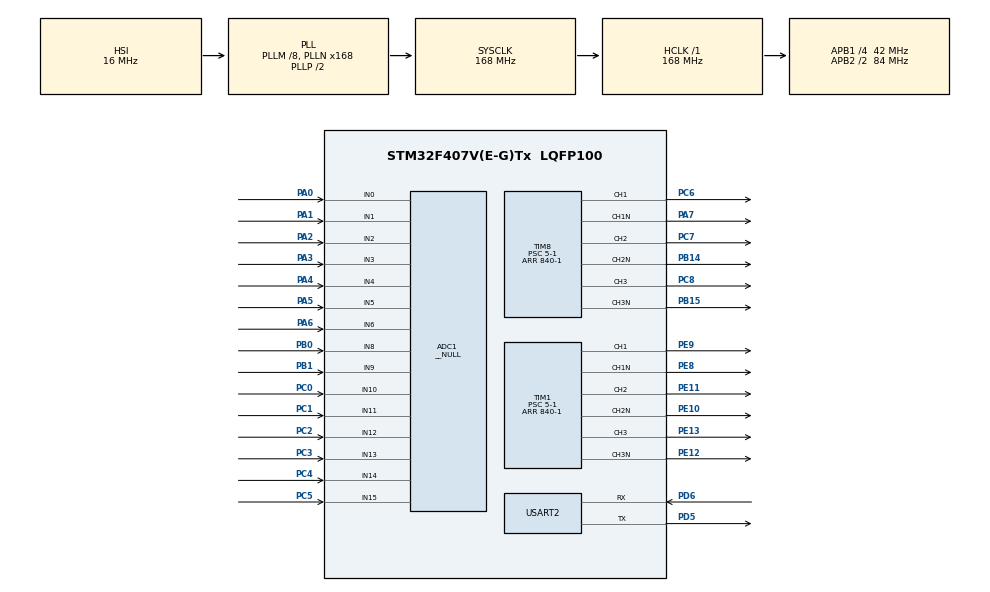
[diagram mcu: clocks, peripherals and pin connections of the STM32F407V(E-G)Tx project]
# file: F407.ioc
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ADC1.Channel-0\#ChannelRegularConversion=ADC_CHANNEL_0
ADC1.Channel-1\#ChannelRegularConversion=ADC_CHANNEL_1
ADC1.Channel-11\#ChannelRegularConversion=ADC_CHANNEL_9
ADC1.Channel-12\#ChannelRegularConversion=ADC_CHANNEL_10
ADC1.Channel-13\#ChannelRegularConversion=ADC_CHANNEL_11
ADC1.Channel-14\#ChannelRegularConversion=ADC_CHANNEL_12
ADC1.Channel-15\#ChannelRegularConversion=ADC_CHANNEL_13
ADC1.Channel-16\#ChannelRegularConversion=ADC_CHANNEL_14
ADC1.Channel-17\#ChannelRegularConversion=ADC_CHANNEL_15
ADC1.Channel-19\#ChannelRegularConversion=ADC_CHANNEL_VREFINT
ADC1.Channel-2\#ChannelRegularConversion=ADC_CHANNEL_2
ADC1.Channel-3\#ChannelRegularConversion=ADC_CHANNEL_3
ADC1.Channel-4\#ChannelRegularConversion=ADC_CHANNEL_4
ADC1.Channel-5\#ChannelRegularConversion=ADC_CHANNEL_5
ADC1.Channel-6\#ChannelRegularConversion=ADC_CHANNEL_6
ADC1.Channel-7\#ChannelRegularConversion=ADC_CHANNEL_8
ADC1.ContinuousConvMode=ENABLE
ADC1.DMAContinuousRequests=ENABLE
ADC1.DiscontinuousConvMode=DISABLE
ADC1.Mode=__NULL
ADC1.NbrOfConversion=16
ADC1.NbrOfConversionFlag=1
ADC1.Rank-0\#ChannelRegularConversion=1
ADC1.Rank-1\#ChannelRegularConversion=2
ADC1.Rank-11\#ChannelRegularConversion=9
ADC1.Rank-12\#ChannelRegularConversion=10
ADC1.Rank-13\#ChannelRegularConversion=11
ADC1.Rank-14\#ChannelRegularConversion=12
ADC1.Rank-15\#ChannelRegularConversion=13
ADC1.Rank-16\#ChannelRegularConversion=14
ADC1.Rank-17\#ChannelRegularConversion=15
ADC1.Rank-19\#ChannelRegularConversion=16
ADC1.Rank-2\#ChannelRegularConversion=3
ADC1.Rank-3\#ChannelRegularConversion=4
ADC1.Rank-4\#ChannelRegularConversion=5
ADC1.Rank-5\#ChannelRegularConversion=6
ADC1.Rank-6\#ChannelRegularConversion=7
ADC1.Rank-7\#ChannelRegularConversion=8
ADC1.SamplingTime-0\#ChannelRegularConversion=ADC_SAMPLETIME_3CYCLES
ADC1.SamplingTime-1\#ChannelRegularConversion=ADC_SAMPLETIME_3CYCLES
ADC1.SamplingTime-11\#ChannelRegularConversion=ADC_SAMPLETIME_3CYCLES
ADC1.SamplingTime-12\#ChannelRegularConversion=ADC_SAMPLETIME_3CYCLES
ADC1.SamplingTime-13\#ChannelRegularConversion=ADC_SAMPLETIME_3CYCLES
ADC1.SamplingTime-14\#ChannelRegularConversion=ADC_SAMPLETIME_3CYCLES
ADC1.SamplingTime-15\#ChannelRegularConversion=ADC_SAMPLETIME_3CYCLES
ADC1.SamplingTime-16\#ChannelRegularConversion=ADC_SAMPLETIME_3CYCLES
ADC1.SamplingTime-17\#ChannelRegularConversion=ADC_SAMPLETIME_3CYCLES
ADC1.SamplingTime-19\#ChannelRegularConversion=ADC_SAMPLETIME_3CYCLES
ADC1.SamplingTime-2\#ChannelRegularConversion=ADC_SAMPLETIME_3CYCLES
ADC1.SamplingTime-3\#ChannelRegularConversion=ADC_SAMPLETIME_3CYCLES
ADC1.SamplingTime-4\#ChannelRegularConversion=ADC_SAMPLETIME_3CYCLES
ADC1.SamplingTime-5\#ChannelRegularConversion=ADC_SAMPLETIME_3CYCLES
ADC1.SamplingTime-6\#ChannelRegularConversion=ADC_SAMPLETIME_3CYCLES
ADC1.SamplingTime-7\#ChannelRegularConversion=ADC_SAMPLETIME_3CYCLES
ADC1.master=1
Dma.ADC1.0.Direction=DMA_PERIPH_TO_MEMORY
Dma.ADC1.0.FIFOMode=DMA_FIFOMODE_DISABLE
Dma.ADC1.0.Instance=DMA2_Stream0
Dma.ADC1.0.MemDataAlignment=DMA_MDATAALIGN_WORD
Dma.ADC1.0.MemInc=DMA_MINC_ENABLE
Dma.ADC1.0.Mode=DMA_CIRCULAR
Dma.ADC1.0.PeriphDataAlignment=DMA_PDATAALIGN_WORD
Dma.ADC1.0.PeriphInc=DMA_PINC_DISABLE
Dma.ADC1.0.Priority=DMA_PRIORITY_MEDIUM
Dma.Request0=ADC1
Mcu.Family=STM32F4
Mcu.Name=STM32F407V(E-G)Tx
Mcu.Package=LQFP100
NVIC.DMA2_Stream0_IRQn=true\:0\:0\:false\:false\:true\:false\:true\:true
NVIC.PriorityGroup=NVIC_PRIORITYGROUP_4
NVIC.TIM2_IRQn=true\:0\:0\:false\:false\:true\:true\:true\:true
PA0-WKUP.Signal=ADCx_IN0
PA1.Signal=ADCx_IN1
PA13.Mode=Serial_Wire
PA13.Signal=SYS_JTMS-SWDIO
PA14.Mode=Serial_Wire
PA14.Signal=SYS_JTCK-SWCLK
PA2.Signal=ADCx_IN2
PA3.Signal=ADCx_IN3
PA4.Signal=ADCx_IN4
PA5.Signal=ADCx_IN5
PA6.Signal=ADCx_IN6
PA7.Mode=PWM Generation1 CH1 CH1N
PA7.Signal=TIM8_CH1N
PB0.Signal=ADCx_IN8
PB1.Signal=ADCx_IN9
PB14.Mode=PWM Generation2 CH2 CH2N
PB14.Signal=TIM8_CH2N
PB15.Mode=PWM Generation3 CH3 CH3N
PB15.Signal=TIM8_CH3N
PC0.Signal=ADCx_IN10
PC1.Signal=ADCx_IN11
PC14-OSC32_IN.Mode=LSE-External-Oscillator
PC14-OSC32_IN.Signal=RCC_OSC32_IN
PC15-OSC32_OUT.Mode=LSE-External-Oscillator
PC15-OSC32_OUT.Signal=RCC_OSC32_OUT
PC2.Signal=ADCx_IN12
PC3.Signal=ADCx_IN13
PC4.Signal=ADCx_IN14
PC5.Signal=ADCx_IN15
PC6.Signal=S_TIM8_CH1
PC7.Signal=S_TIM8_CH2
PC8.Signal=S_TIM8_CH3
PD5.Mode=Asynchronous
PD5.Signal=USART2_TX
PD6.Mode=Asynchronous
PD6.Signal=USART2_RX
PE10.Mode=PWM Generation2 CH2 CH2N
PE10.Signal=TIM1_CH2N
PE11.Signal=S_TIM1_CH2
PE12.Mode=PWM Generation3 CH3 CH3N
PE12.Signal=TIM1_CH3N
PE13.Signal=S_TIM1_CH3
PE8.Mode=PWM Generation1 CH1 CH1N
PE8.Signal=TIM1_CH1N
PE9.Signal=S_TIM1_CH1
PH0-OSC_IN.Mode=HSE-External-Oscillator
PH0-OSC_IN.Signal=RCC_OSC_IN
PH1-OSC_OUT.Mode=HSE-External-Oscillator
PH1-OSC_OUT.Signal=RCC_OSC_OUT
ProjectManager.HeapSize=0x200
ProjectManager.StackSize=0x400
ProjectManager.TargetToolchain=STM32CubeIDE
RCC.48MHZClocksFreq_Value=84000000
RCC.AHBFreq_Value=168000000
RCC.APB1CLKDivider=RCC_HCLK_DIV4
RCC.APB1Freq_Value=42000000
RCC.APB1TimFreq_Value=84000000
RCC.APB2CLKDivider=RCC_HCLK_DIV2
RCC.APB2Freq_Value=84000000
RCC.APB2TimFreq_Value=168000000
RCC.CortexFreq_Value=168000000
RCC.HCLKFreq_Value=168000000
RCC.HSE_VALUE=25000000
RCC.HSI_VALUE=16000000
RCC.PLLM=8
RCC.PLLN=168
RCC.SYSCLKFreq_VALUE=168000000
RCC.SYSCLKSource=RCC_SYSCLKSOURCE_PLLCLK
RCC.VCOOutputFreq_Value=336000000
SH.ADCx_IN0.0=ADC1_IN0,IN0
SH.ADCx_IN1.0=ADC1_IN1,IN1
SH.ADCx_IN10.0=ADC1_IN10,IN10
SH.ADCx_IN11.0=ADC1_IN11,IN11
SH.ADCx_IN12.0=ADC2_IN12
SH.ADCx_IN12.1=ADC1_IN12,IN12
SH.ADCx_IN13.0=ADC2_IN13
SH.ADCx_IN13.1=ADC1_IN13,IN13
SH.ADCx_IN14.0=ADC1_IN14,IN14
SH.ADCx_IN15.0=ADC1_IN15,IN15
SH.ADCx_IN2.0=ADC1_IN2,IN2
SH.ADCx_IN3.0=ADC1_IN3,IN3
SH.ADCx_IN4.0=ADC1_IN4,IN4
SH.ADCx_IN5.0=ADC1_IN5,IN5
SH.ADCx_IN6.0=ADC1_IN6,IN6
SH.ADCx_IN8.0=ADC1_IN8,IN8
SH.ADCx_IN9.0=ADC1_IN9,IN9
SH.S_TIM1_CH1.0=TIM1_CH1,PWM Generation1 CH1 CH1N
SH.S_TIM1_CH2.0=TIM1_CH2,PWM Generation2 CH2 CH2N
SH.S_TIM1_CH3.0=TIM1_CH3,PWM Generation3 CH3 CH3N
SH.S_TIM8_CH1.0=TIM8_CH1,PWM Generation1 CH1 CH1N
SH.S_TIM8_CH2.0=TIM8_CH2,PWM Generation2 CH2 CH2N
SH.S_TIM8_CH3.0=TIM8_CH3,PWM Generation3 CH3 CH3N
STMicroelectronics.X-CUBE-ALGOBUILD.1.4.0.LibraryCcDSPOoLibraryJjDSPOoLibrary=true
TIM1.Channel-PWM\ Generation1\ CH1\ CH1N=TIM_CHANNEL_1
TIM1.Channel-PWM\ Generation2\ CH2\ CH2N=TIM_CHANNEL_2
TIM1.Channel-PWM\ Generation3\ CH3\ CH3N=TIM_CHANNEL_3
TIM1.DeadTime=20
TIM1.Period=840-1
TIM1.Prescaler=5-1
TIM2.Period=50-1
TIM2.Prescaler=84-1
TIM8.Channel-PWM\ Generation1\ CH1\ CH1N=TIM_CHANNEL_1
TIM8.Channel-PWM\ Generation2\ CH2\ CH2N=TIM_CHANNEL_2
TIM8.Channel-PWM\ Generation3\ CH3\ CH3N=TIM_CHANNEL_3
TIM8.DeadTime=20
TIM8.Period=840-1
TIM8.Prescaler=5-1
USART2.VirtualMode=VM_ASYNC
VP_ADC1_Vref_Input.Mode=IN-Vrefint
VP_STMicroelectronics.X-CUBE-ALGOBUILD_VS_DSPOoLibraryJjLibrary_1.4.0_1.4.0.Mode=DSPOoLibraryJjLibrary
VP_TIM1_VS_ClockSourceINT.Mode=Internal
VP_TIM2_VS_ClockSourceINT.Mode=Internal
VP_TIM8_VS_ClockSourceINT.Mode=Internal
board=custom

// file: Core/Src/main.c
/* USER CODE BEGIN Header */
/**
  ******************************************************************************
  * @file           : main.c
  * @brief          : Main program body
  ******************************************************************************
  * @attention
  *
  * Copyright (c) 2025 STMicroelectronics.
  * All rights reserved.
  *
  * This software is licensed under terms that can be found in the LICENSE file
  * in the root directory of this software component.
  * If no LICENSE file comes with this software, it is provided AS-IS.
  *
  ******************************************************************************
  */
/* USER CODE END Header */
#include "main.h"

/* USER CODE BEGIN Includes */
#include <stdio.h>
#include <malloc.h>

#include "stm32f4xx_hal_adc.h"
#include "dual_loop.h"
#include "PID.h"
/* USER CODE END Includes */

/* USER CODE BEGIN PTD */
#define PART2 1
/* USER CODE END PTD */

ADC_HandleTypeDef hadc1;
DMA_HandleTypeDef hdma_adc1;

TIM_HandleTypeDef htim1;
TIM_HandleTypeDef htim2;
TIM_HandleTypeDef htim8;

UART_HandleTypeDef huart2;

/* USER CODE BEGIN PV */
      /* adc */
static uint32_t adc_dma_buffer[ADC_CHANNEL_NUM];
triple_power AC_OUT, AC_IN;
static float dc_in_current,dc_out_volt,dc_out_current,vrefint;

// static char send[100];
static uint8_t cnt = 0;
static uint32_t temp[ADC_CHANNEL_NUM];
static uint32_t real[ADC_CHANNEL_NUM];

      /* pid */
PID_TypeDef pid_control[PID_CONTROL_NUM] = {
  {0.1f,10.0f,0.0f,1.0f},//AC_OUT A
  {0.1f,10.0f,0.0f,1.0f},//AC_OUT B
  {0.1f,10.0f,0.0f,1.0f},//AC_OUT C
  {0.1f,10.0f,0.0f,1.0f},
  {0.1f,10.0f,0.0f,1.0f},
  {0.1f,10.0f,0.0f,1.0f},
};

      /* dual loop */
float rtU_freq_Hz = 50.0f;     // 输入: 频率 (Hz),要能步进
float rtY_theta;       // 输出: 相位 (rad)
float rtY_freq_Hz;     // 输出: 频率 (Hz) - 镜像输入频率

System_State sys_state;     // 系统状态
System_IO sys_io;           // 系统输入输出
VCO_State vco_state;   // 全局状态实例
RMS_Calculator *rms_discretep;

/* USER CODE END PV */

void SystemClock_Config(void);
static void MX_GPIO_Init(void);
static void MX_DMA_Init(void);
static void MX_ADC1_Init(void);
static void MX_TIM1_Init(void);
static void MX_TIM8_Init(void);
static void MX_TIM2_Init(void);
static void MX_USART2_UART_Init(void);
/* USER CODE BEGIN PFP */
void HAL_TIM_PeriodElapsedCallback(TIM_HandleTypeDef *htim);
void DMA2_Stream0_Callback(void);
// void dual_loop_func(void);
void vco_init(void);

/* USER CODE END PFP */

int main(void)
{

  /* MCU Configuration--------------------------------------------------------*/

  /* Reset of all peripherals, Initializes the Flash interface and the Systick. */
  HAL_Init();

  /* Configure the system clock */
  SystemClock_Config();

  /* Initialize all configured peripherals */
  MX_GPIO_Init();
  MX_DMA_Init();
  MX_ADC1_Init();
  MX_TIM1_Init();
  MX_TIM8_Init();
  MX_TIM2_Init();
  MX_USART2_UART_Init();
  /* USER CODE BEGIN 2 */

  vco_init();
  system_init();
  /*启动PWM输出*/
  HAL_TIM_PWM_Start(&htim1, TIM_CHANNEL_1);
  HAL_TIMEx_PWMN_Start(&htim1, TIM_CHANNEL_1); // TIM1 CH1N互补
  HAL_TIM_PWM_Start(&htim1, TIM_CHANNEL_2);
  HAL_TIMEx_PWMN_Start(&htim1, TIM_CHANNEL_2); // CH2N互补
  HAL_TIM_PWM_Start(&htim1, TIM_CHANNEL_3);
  HAL_TIMEx_PWMN_Start(&htim1, TIM_CHANNEL_3); // CH3N互补

  HAL_TIM_PWM_Start(&htim8, TIM_CHANNEL_1);
  HAL_TIMEx_PWMN_Start(&htim8, TIM_CHANNEL_1); // TIM8 CH1N互补
  HAL_TIM_PWM_Start(&htim8, TIM_CHANNEL_2);
  HAL_TIMEx_PWMN_Start(&htim8, TIM_CHANNEL_2); // TIM8 CH2N互补
  HAL_TIM_PWM_Start(&htim8, TIM_CHANNEL_3);
  HAL_TIMEx_PWMN_Start(&htim8, TIM_CHANNEL_3); // CH3N互补

  /*计时器启动*/
  HAL_TIM_Base_Start_IT(&htim2);

  /*启动ADC DMA*/
  // HAL_ADC_Start(&hadc2);
  // HAL_ADCEx_MultiModeStart_DMA(&hadc1, adc_dma_buffer, ADC_CHANNEL_NUM);
  HAL_ADC_Start_DMA(&hadc1, adc_dma_buffer, ADC_CHANNEL_NUM);
  // float test_arm = 10;
  // float test_math = 10;
  //
  // arm_sqrt_f32(test_math, &test_arm);
  // test_math = sqrt(test_math);

  /* USER CODE END 2 */

  /* Infinite loop */
  /* USER CODE BEGIN WHILE */
  while (1)
  {

    // ADC_convert();

//DC_OUT

    // HAL_Delay(500);

    /* USER CODE END WHILE */

  }
}

void SystemClock_Config(void)
{
  RCC_OscInitTypeDef RCC_OscInitStruct = {0};
  RCC_ClkInitTypeDef RCC_ClkInitStruct = {0};

  /** Configure the main internal regulator output voltage
  */
  __HAL_RCC_PWR_CLK_ENABLE();
  __HAL_PWR_VOLTAGESCALING_CONFIG(PWR_REGULATOR_VOLTAGE_SCALE1);

  /** Initializes the RCC Oscillators according to the specified parameters
  * in the RCC_OscInitTypeDef structure.
  */
  RCC_OscInitStruct.OscillatorType = RCC_OSCILLATORTYPE_HSI;
  RCC_OscInitStruct.HSIState = RCC_HSI_ON;
  RCC_OscInitStruct.HSICalibrationValue = RCC_HSICALIBRATION_DEFAULT;
  RCC_OscInitStruct.PLL.PLLState = RCC_PLL_ON;
  RCC_OscInitStruct.PLL.PLLSource = RCC_PLLSOURCE_HSI;
  RCC_OscInitStruct.PLL.PLLM = 8;
  RCC_OscInitStruct.PLL.PLLN = 168;
  RCC_OscInitStruct.PLL.PLLP = RCC_PLLP_DIV2;
  RCC_OscInitStruct.PLL.PLLQ = 4;
  if (HAL_RCC_OscConfig(&RCC_OscInitStruct) != HAL_OK)
  {
    Error_Handler();
  }

  /** Initializes the CPU, AHB and APB buses clocks
  */
  RCC_ClkInitStruct.ClockType = RCC_CLOCKTYPE_HCLK|RCC_CLOCKTYPE_SYSCLK
                              |RCC_CLOCKTYPE_PCLK1|RCC_CLOCKTYPE_PCLK2;
  RCC_ClkInitStruct.SYSCLKSource = RCC_SYSCLKSOURCE_PLLCLK;
  RCC_ClkInitStruct.AHBCLKDivider = RCC_SYSCLK_DIV1;
  RCC_ClkInitStruct.APB1CLKDivider = RCC_HCLK_DIV4;
  RCC_ClkInitStruct.APB2CLKDivider = RCC_HCLK_DIV2;

  if (HAL_RCC_ClockConfig(&RCC_ClkInitStruct, FLASH_LATENCY_5) != HAL_OK)
  {
    Error_Handler();
  }
}

static void MX_ADC1_Init(void)
{

  ADC_ChannelConfTypeDef sConfig = {0};

  /** Configure the global features of the ADC (Clock, Resolution, Data Alignment and number of conversion)
  */
  hadc1.Instance = ADC1;
  hadc1.Init.ClockPrescaler = ADC_CLOCK_SYNC_PCLK_DIV4;
  hadc1.Init.Resolution = ADC_RESOLUTION_12B;
  hadc1.Init.ScanConvMode = ENABLE;
  hadc1.Init.ContinuousConvMode = ENABLE;
  hadc1.Init.DiscontinuousConvMode = DISABLE;
  hadc1.Init.ExternalTrigConvEdge = ADC_EXTERNALTRIGCONVEDGE_NONE;
  hadc1.Init.ExternalTrigConv = ADC_SOFTWARE_START;
  hadc1.Init.DataAlign = ADC_DATAALIGN_RIGHT;
  hadc1.Init.NbrOfConversion = 16;
  hadc1.Init.DMAContinuousRequests = ENABLE;
  hadc1.Init.EOCSelection = ADC_EOC_SINGLE_CONV;
  if (HAL_ADC_Init(&hadc1) != HAL_OK)
  {
    Error_Handler();
  }

  /** Configure for the selected ADC regular channel its corresponding rank in the sequencer and its sample time.
  */
  sConfig.Channel = ADC_CHANNEL_0;
  sConfig.Rank = 1;
  sConfig.SamplingTime = ADC_SAMPLETIME_3CYCLES;
  if (HAL_ADC_ConfigChannel(&hadc1, &sConfig) != HAL_OK)
  {
    Error_Handler();
  }

  /** Configure for the selected ADC regular channel its corresponding rank in the sequencer and its sample time.
  */
  sConfig.Channel = ADC_CHANNEL_1;
  sConfig.Rank = 2;
  if (HAL_ADC_ConfigChannel(&hadc1, &sConfig) != HAL_OK)
  {
    Error_Handler();
  }

  /** Configure for the selected ADC regular channel its corresponding rank in the sequencer and its sample time.
  */
  sConfig.Channel = ADC_CHANNEL_2;
  sConfig.Rank = 3;
  if (HAL_ADC_ConfigChannel(&hadc1, &sConfig) != HAL_OK)
  {
    Error_Handler();
  }

  /** Configure for the selected ADC regular channel its corresponding rank in the sequencer and its sample time.
  */
  sConfig.Channel = ADC_CHANNEL_3;
  sConfig.Rank = 4;
  if (HAL_ADC_ConfigChannel(&hadc1, &sConfig) != HAL_OK)
  {
    Error_Handler();
  }

  /** Configure for the selected ADC regular channel its corresponding rank in the sequencer and its sample time.
  */
  sConfig.Channel = ADC_CHANNEL_4;
  sConfig.Rank = 5;
  if (HAL_ADC_ConfigChannel(&hadc1, &sConfig) != HAL_OK)
  {
    Error_Handler();
  }

  /** Configure for the selected ADC regular channel its corresponding rank in the sequencer and its sample time.
  */
  sConfig.Channel = ADC_CHANNEL_5;
  sConfig.Rank = 6;
  if (HAL_ADC_ConfigChannel(&hadc1, &sConfig) != HAL_OK)
  {
    Error_Handler();
  }

  /** Configure for the selected ADC regular channel its corresponding rank in the sequencer and its sample time.
  */
  sConfig.Channel = ADC_CHANNEL_6;
  sConfig.Rank = 7;
  if (HAL_ADC_ConfigChannel(&hadc1, &sConfig) != HAL_OK)
  {
    Error_Handler();
  }

  /** Configure for the selected ADC regular channel its corresponding rank in the sequencer and its sample time.
  */
  sConfig.Channel = ADC_CHANNEL_8;
  sConfig.Rank = 8;
  if (HAL_ADC_ConfigChannel(&hadc1, &sConfig) != HAL_OK)
  {
    Error_Handler();
  }

  /** Configure for the selected ADC regular channel its corresponding rank in the sequencer and its sample time.
  */
  sConfig.Channel = ADC_CHANNEL_9;
  sConfig.Rank = 9;
  if (HAL_ADC_ConfigChannel(&hadc1, &sConfig) != HAL_OK)
  {
    Error_Handler();
  }

  /** Configure for the selected ADC regular channel its corresponding rank in the sequencer and its sample time.
  */
  sConfig.Channel = ADC_CHANNEL_10;
  sConfig.Rank = 10;
  if (HAL_ADC_ConfigChannel(&hadc1, &sConfig) != HAL_OK)
  {
    Error_Handler();
  }

  /** Configure for the selected ADC regular channel its corresponding rank in the sequencer and its sample time.
  */
  sConfig.Channel = ADC_CHANNEL_11;
  sConfig.Rank = 11;
  if (HAL_ADC_ConfigChannel(&hadc1, &sConfig) != HAL_OK)
  {
    Error_Handler();
  }

  /** Configure for the selected ADC regular channel its corresponding rank in the sequencer and its sample time.
  */
  sConfig.Channel = ADC_CHANNEL_12;
  sConfig.Rank = 12;
  if (HAL_ADC_ConfigChannel(&hadc1, &sConfig) != HAL_OK)
  {
    Error_Handler();
  }

  /** Configure for the selected ADC regular channel its corresponding rank in the sequencer and its sample time.
  */
  sConfig.Channel = ADC_CHANNEL_13;
  sConfig.Rank = 13;
  if (HAL_ADC_ConfigChannel(&hadc1, &sConfig) != HAL_OK)
  {
    Error_Handler();
  }

  /** Configure for the selected ADC regular channel its corresponding rank in the sequencer and its sample time.
  */
  sConfig.Channel = ADC_CHANNEL_14;
  sConfig.Rank = 14;
  if (HAL_ADC_ConfigChannel(&hadc1, &sConfig) != HAL_OK)
  {
    Error_Handler();
  }

  /** Configure for the selected ADC regular channel its corresponding rank in the sequencer and its sample time.
  */
  sConfig.Channel = ADC_CHANNEL_15;
  sConfig.Rank = 15;
  if (HAL_ADC_ConfigChannel(&hadc1, &sConfig) != HAL_OK)
  {
    Error_Handler();
  }

  /** Configure for the selected ADC regular channel its corresponding rank in the sequencer and its sample time.
  */
  sConfig.Channel = ADC_CHANNEL_VREFINT;
  sConfig.Rank = 16;
  if (HAL_ADC_ConfigChannel(&hadc1, &sConfig) != HAL_OK)
  {
    Error_Handler();
  }

}

static void MX_TIM1_Init(void)
{

  TIM_ClockConfigTypeDef sClockSourceConfig = {0};
  TIM_MasterConfigTypeDef sMasterConfig = {0};
  TIM_OC_InitTypeDef sConfigOC = {0};
  TIM_BreakDeadTimeConfigTypeDef sBreakDeadTimeConfig = {0};

  htim1.Instance = TIM1;
  htim1.Init.Prescaler = 5-1;
  htim1.Init.CounterMode = TIM_COUNTERMODE_UP;
  htim1.Init.Period = 840-1;
  htim1.Init.ClockDivision = TIM_CLOCKDIVISION_DIV1;
  htim1.Init.RepetitionCounter = 0;
  htim1.Init.AutoReloadPreload = TIM_AUTORELOAD_PRELOAD_DISABLE;
  if (HAL_TIM_Base_Init(&htim1) != HAL_OK)
  {
    Error_Handler();
  }
  sClockSourceConfig.ClockSource = TIM_CLOCKSOURCE_INTERNAL;
  if (HAL_TIM_ConfigClockSource(&htim1, &sClockSourceConfig) != HAL_OK)
  {
    Error_Handler();
  }
  if (HAL_TIM_PWM_Init(&htim1) != HAL_OK)
  {
    Error_Handler();
  }
  sMasterConfig.MasterOutputTrigger = TIM_TRGO_RESET;
  sMasterConfig.MasterSlaveMode = TIM_MASTERSLAVEMODE_DISABLE;
  if (HAL_TIMEx_MasterConfigSynchronization(&htim1, &sMasterConfig) != HAL_OK)
  {
    Error_Handler();
  }
  sConfigOC.OCMode = TIM_OCMODE_PWM1;
  sConfigOC.Pulse = 0;
  sConfigOC.OCPolarity = TIM_OCPOLARITY_HIGH;
  sConfigOC.OCNPolarity = TIM_OCNPOLARITY_HIGH;
  sConfigOC.OCFastMode = TIM_OCFAST_DISABLE;
  sConfigOC.OCIdleState = TIM_OCIDLESTATE_RESET;
  sConfigOC.OCNIdleState = TIM_OCNIDLESTATE_RESET;
  if (HAL_TIM_PWM_ConfigChannel(&htim1, &sConfigOC, TIM_CHANNEL_1) != HAL_OK)
  {
    Error_Handler();
  }
  if (HAL_TIM_PWM_ConfigChannel(&htim1, &sConfigOC, TIM_CHANNEL_2) != HAL_OK)
  {
    Error_Handler();
  }
  if (HAL_TIM_PWM_ConfigChannel(&htim1, &sConfigOC, TIM_CHANNEL_3) != HAL_OK)
  {
    Error_Handler();
  }
  sBreakDeadTimeConfig.OffStateRunMode = TIM_OSSR_DISABLE;
  sBreakDeadTimeConfig.OffStateIDLEMode = TIM_OSSI_DISABLE;
  sBreakDeadTimeConfig.LockLevel = TIM_LOCKLEVEL_OFF;
  sBreakDeadTimeConfig.DeadTime = 20;
  sBreakDeadTimeConfig.BreakState = TIM_BREAK_DISABLE;
  sBreakDeadTimeConfig.BreakPolarity = TIM_BREAKPOLARITY_HIGH;
  sBreakDeadTimeConfig.AutomaticOutput = TIM_AUTOMATICOUTPUT_DISABLE;
  if (HAL_TIMEx_ConfigBreakDeadTime(&htim1, &sBreakDeadTimeConfig) != HAL_OK)
  {
    Error_Handler();
  }
  HAL_TIM_MspPostInit(&htim1);

}

static void MX_TIM2_Init(void)
{

  TIM_ClockConfigTypeDef sClockSourceConfig = {0};
  TIM_MasterConfigTypeDef sMasterConfig = {0};

  htim2.Instance = TIM2;
  htim2.Init.Prescaler = 84-1;
  htim2.Init.CounterMode = TIM_COUNTERMODE_UP;
  htim2.Init.Period = 50-1;
  htim2.Init.ClockDivision = TIM_CLOCKDIVISION_DIV1;
  htim2.Init.AutoReloadPreload = TIM_AUTORELOAD_PRELOAD_DISABLE;
  if (HAL_TIM_Base_Init(&htim2) != HAL_OK)
  {
    Error_Handler();
  }
  sClockSourceConfig.ClockSource = TIM_CLOCKSOURCE_INTERNAL;
  if (HAL_TIM_ConfigClockSource(&htim2, &sClockSourceConfig) != HAL_OK)
  {
    Error_Handler();
  }
  sMasterConfig.MasterOutputTrigger = TIM_TRGO_RESET;
  sMasterConfig.MasterSlaveMode = TIM_MASTERSLAVEMODE_DISABLE;
  if (HAL_TIMEx_MasterConfigSynchronization(&htim2, &sMasterConfig) != HAL_OK)
  {
    Error_Handler();
  }

}

static void MX_TIM8_Init(void)
{

  TIM_ClockConfigTypeDef sClockSourceConfig = {0};
  TIM_MasterConfigTypeDef sMasterConfig = {0};
  TIM_OC_InitTypeDef sConfigOC = {0};
  TIM_BreakDeadTimeConfigTypeDef sBreakDeadTimeConfig = {0};

  htim8.Instance = TIM8;
  htim8.Init.Prescaler = 5-1;
  htim8.Init.CounterMode = TIM_COUNTERMODE_UP;
  htim8.Init.Period = 840-1;
  htim8.Init.ClockDivision = TIM_CLOCKDIVISION_DIV1;
  htim8.Init.RepetitionCounter = 0;
  htim8.Init.AutoReloadPreload = TIM_AUTORELOAD_PRELOAD_DISABLE;
  if (HAL_TIM_Base_Init(&htim8) != HAL_OK)
  {
    Error_Handler();
  }
  sClockSourceConfig.ClockSource = TIM_CLOCKSOURCE_INTERNAL;
  if (HAL_TIM_ConfigClockSource(&htim8, &sClockSourceConfig) != HAL_OK)
  {
    Error_Handler();
  }
  if (HAL_TIM_PWM_Init(&htim8) != HAL_OK)
  {
    Error_Handler();
  }
  sMasterConfig.MasterOutputTrigger = TIM_TRGO_RESET;
  sMasterConfig.MasterSlaveMode = TIM_MASTERSLAVEMODE_DISABLE;
  if (HAL_TIMEx_MasterConfigSynchronization(&htim8, &sMasterConfig) != HAL_OK)
  {
    Error_Handler();
  }
  sConfigOC.OCMode = TIM_OCMODE_PWM1;
  sConfigOC.Pulse = 0;
  sConfigOC.OCPolarity = TIM_OCPOLARITY_HIGH;
  sConfigOC.OCNPolarity = TIM_OCNPOLARITY_HIGH;
  sConfigOC.OCFastMode = TIM_OCFAST_DISABLE;
  sConfigOC.OCIdleState = TIM_OCIDLESTATE_RESET;
  sConfigOC.OCNIdleState = TIM_OCNIDLESTATE_RESET;
  if (HAL_TIM_PWM_ConfigChannel(&htim8, &sConfigOC, TIM_CHANNEL_1) != HAL_OK)
  {
    Error_Handler();
  }
  if (HAL_TIM_PWM_ConfigChannel(&htim8, &sConfigOC, TIM_CHANNEL_2) != HAL_OK)
  {
    Error_Handler();
  }
  if (HAL_TIM_PWM_ConfigChannel(&htim8, &sConfigOC, TIM_CHANNEL_3) != HAL_OK)
  {
    Error_Handler();
  }
  sBreakDeadTimeConfig.OffStateRunMode = TIM_OSSR_DISABLE;
  sBreakDeadTimeConfig.OffStateIDLEMode = TIM_OSSI_DISABLE;
  sBreakDeadTimeConfig.LockLevel = TIM_LOCKLEVEL_OFF;
  sBreakDeadTimeConfig.DeadTime = 20;
  sBreakDeadTimeConfig.BreakState = TIM_BREAK_DISABLE;
  sBreakDeadTimeConfig.BreakPolarity = TIM_BREAKPOLARITY_HIGH;
  sBreakDeadTimeConfig.AutomaticOutput = TIM_AUTOMATICOUTPUT_DISABLE;
  if (HAL_TIMEx_ConfigBreakDeadTime(&htim8, &sBreakDeadTimeConfig) != HAL_OK)
  {
    Error_Handler();
  }
  HAL_TIM_MspPostInit(&htim8);

}

static void MX_USART2_UART_Init(void)
{

  huart2.Instance = USART2;
  huart2.Init.BaudRate = 115200;
  huart2.Init.WordLength = UART_WORDLENGTH_8B;
  huart2.Init.StopBits = UART_STOPBITS_1;
  huart2.Init.Parity = UART_PARITY_NONE;
  huart2.Init.Mode = UART_MODE_TX_RX;
  huart2.Init.HwFlowCtl = UART_HWCONTROL_NONE;
  huart2.Init.OverSampling = UART_OVERSAMPLING_16;
  if (HAL_UART_Init(&huart2) != HAL_OK)
  {
    Error_Handler();
  }

}

static void MX_DMA_Init(void)
{

  /* DMA controller clock enable */
  __HAL_RCC_DMA2_CLK_ENABLE();

  /* DMA interrupt init */
  /* DMA2_Stream0_IRQn interrupt configuration */
  HAL_NVIC_SetPriority(DMA2_Stream0_IRQn, 0, 0);
  HAL_NVIC_EnableIRQ(DMA2_Stream0_IRQn);

}

static void MX_GPIO_Init(void)
{
  GPIO_InitTypeDef GPIO_InitStruct = {0};

  /* GPIO Ports Clock Enable */
  __HAL_RCC_GPIOC_CLK_ENABLE();
  __HAL_RCC_GPIOH_CLK_ENABLE();
  __HAL_RCC_GPIOA_CLK_ENABLE();
  __HAL_RCC_GPIOB_CLK_ENABLE();
  __HAL_RCC_GPIOE_CLK_ENABLE();
  __HAL_RCC_GPIOD_CLK_ENABLE();

  /*Configure GPIO pins : PC2 PC3 */
  GPIO_InitStruct.Pin = GPIO_PIN_2|GPIO_PIN_3;
  GPIO_InitStruct.Mode = GPIO_MODE_ANALOG;
  GPIO_InitStruct.Pull = GPIO_NOPULL;
  HAL_GPIO_Init(GPIOC, &GPIO_InitStruct);

}

/* USER CODE BEGIN 4 */
void HAL_TIM_PeriodElapsedCallback(TIM_HandleTypeDef *htim)
{
  if (htim->Instance == TIM2) {

    /* adc measure */
    ADC_convert();
    sys_io.vabc[0] = AC_OUT.VOLTAGE_A - AC_OUT.VOLTAGE_B;
    sys_io.vabc[1] = AC_OUT.VOLTAGE_B - AC_OUT.VOLTAGE_C;
    sys_io.vabc[2] = AC_OUT.VOLTAGE_C - AC_OUT.VOLTAGE_A;

    /* func */
    //         t += TS_PLL;?????
    system_step();//vco step & control step

    /* set pwm */
    // static float duty1,duty2,duty3;

    // Set_PWM_Duty(htim1,TIM_CHANNEL_1,sys_io.abc[0]);

    Set_PWM_Duty(htim1,TIM_CHANNEL_1,50);
    // Set_PWM_Duty(htim1,TIM_CHANNEL_2,sys_io.abc[1]);

    Set_PWM_Duty(htim1,TIM_CHANNEL_2,100);
    // Set_PWM_Duty(htim1,TIM_CHANNEL_3,sys_
    // io.abc[2]);
    Set_PWM_Duty(htim1,TIM_CHANNEL_3,100);

  // if (PART2 == 1) {
  //
  //
  //
  //
  //
  //
  //
  //
  // }
  }
}

void ADC_convert(void)
{
  cnt++;
  for (int i = 0; i < ADC_CHANNEL_NUM; i++) {
    temp[i] += adc_dma_buffer[i];
  }
  if (cnt == 4) {
    for (int i = 0; i < ADC_CHANNEL_NUM; i++) {
      real[i] = temp[i]/4;
      temp[i] = 0;
    }
    cnt = 0;
  }
  dc_in_current = ((float)real[DC_INPUT_CURRENT] / 4095.0f) * VREF;
  dc_out_volt = ((float)real[DC_OUT_VOLTAGE] / 4095.0f)* VREF * 60 / adc_constant;
  dc_out_current = ((float)real[DC_OUT_CURRENT] / 4095.0f) * VREF;
  AC_IN.CURRENT_C = ((float)real[AC_IN_CURRENT_C] / 4095.0f) * VREF;
  AC_OUT.CURRENT_C = ((float)real[AC_OUT_CURRENT_C] - 2047.5f )/ 4095.0f *8.25f ;
  AC_IN.VOLTAGE_C = ((float)real[AC_IN_VOLTAGE_C] / 4095.0f) * VREF * 60 / adc_constant;
  AC_OUT.VOLTAGE_C = ((float)real[AC_OUT_VOLTAGE_C] / 4095.0f) * VREF * 60 / adc_constant + 0.505805181f;//+ 0.505805181f;//1.504  - 0.998194819
  AC_OUT.VOLTAGE_B = ((float)real[AC_OUT_VOLTAGE_B] / 4095.0f) * VREF * 60 / adc_constant - 0.147614626f;//1.514 -1.661614626
  AC_OUT.CURRENT_A = ((float)real[AC_OUT_CURRENT_A] - 2047.5f )/ 4095.0f * 8.25f ;
  AC_IN.CURRENT_B = ((float)real[AC_IN_CURRENT_B] / 4095.0f) * VREF;
  AC_IN.VOLTAGE_B = ((float)real[AC_IN_VOLTAGE_B] / 4095.0f) * VREF * 60 / adc_constant;
  AC_IN.CURRENT_A = ((float)real[AC_IN_CURRENT_A]/ 4095.0f) * VREF;
  AC_IN.VOLTAGE_A = ((float)real[AC_IN_VOLTAGE_A] / 4095.0f) * VREF * 60 / adc_constant;
  AC_OUT.CURRENT_B = ((float)real[AC_OUT_CURRENT_B] - 2047.5f )/ 4095.0f *8.25f ;
  AC_OUT.VOLTAGE_A = ((float)real[AC_OUT_VOLTAGE_A]/ 4095.0f) * VREF * 60 / adc_constant + 0.09432894;//1.508- 1.431367106

  uint16_t vrefint_cal = *VREFINT_CAL_ADDR; // 读取校准值
  vrefint = vrefint_cal  * VREF /  real[15];

  //V = (ADC_Value / 4095.0) * V_ref
  //adc电压满量程是69.473V
  //电压换算：/4096*60*（3.3/2.85）
  //电流半量程是0A，满量程是8.25A，空量程是-8.25A
  //内部参考电压没有计算
}

void vco_init(void)
{
  vco_state.phase = 0.0f;     // 初始相位归零
  vco_state.freq_Hz = 50.0f;   // 初始频率归零
}

/*----------------------------------------------------------
 * 函数: vco_step
 * 功能: 执行单步VCO计算 (输入为频率Hz)
 * 说明:
 *   1. 保存输入频率用于输出镜像
 *   2. 计算相位增量: Δphase = 2π * f * Δt
 *   3. 更新相位累加器
 *   4. 自动相位回绕 (±2π范围)
 *---------------------------------------------------------*/
void vco_step(void)
{
  // 1. 保存当前输入频率 (用于输出镜像)
  vco_state.freq_Hz = rtU_freq_Hz;
  // 2. 计算相位增量: 2π * f * Δt
  float phase_increment = TWO_PI * rtU_freq_Hz * SAMPLE_PERIOD;
  // 3. 更新相位累加器
  vco_state.phase += phase_increment;
  // 4. 相位自动回绕处理 [0, 2π) 范围
  // 高效处理正相位溢出
  if (vco_state.phase >= TWO_PI) {
    vco_state.phase -= TWO_PI;
  }
  // 高效处理负相位溢出
  else if (vco_state.phase < 0.0f) {
    vco_state.phase += TWO_PI;
  }
  // 5. 设置输出
  rtY_theta = vco_state.phase;    // 当前相位 (弧度)
  rtY_freq_Hz = vco_state.freq_Hz; // 镜像输出当前频率
}
/* USER CODE END 4 */

void Error_Handler(void)
{
  __disable_irq();
  while (1)
  {
  }
}
